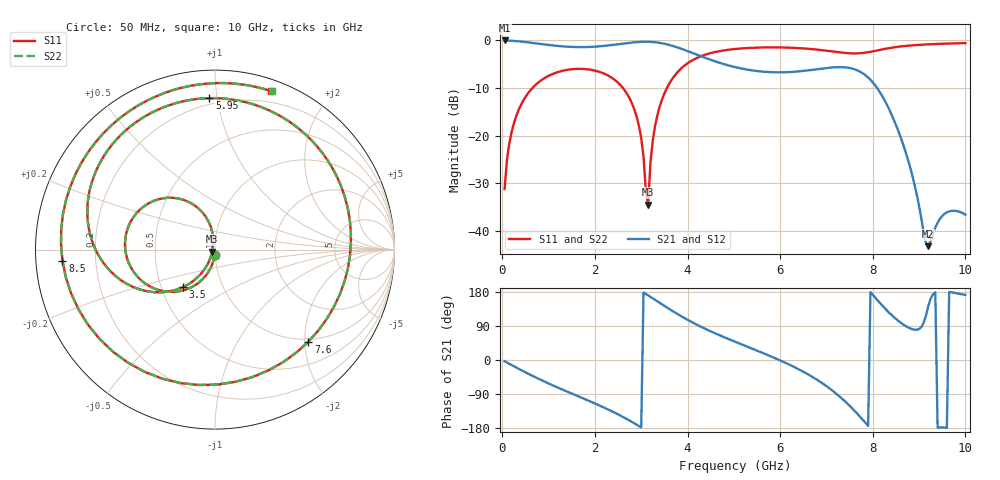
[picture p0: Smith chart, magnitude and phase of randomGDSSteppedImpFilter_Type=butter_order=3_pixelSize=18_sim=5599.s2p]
! freq	dB(S11)	phase(S11)	dB(S12)	phase(S12)
!  dB(S21)	phase(S21)	dB(S22)	phase(S22)
!S-par simulation data
#  GHz  S  DB  R 50
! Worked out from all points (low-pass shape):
!   200 points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, 50 MHz to 10 GHz, reference 50 ohm
!   highest |S21| = -0.01 dB at 50 MHz (marker M1); lowest = -43.2 dB at 9.2 GHz (marker M2)
!   |S21| within 3 dB of the highest: start of sweep to 4.207 GHz
!   lowest |S11| = -34.4 dB at 3.15 GHz (marker M3), VSWR 1.04, Z = 48.5 - j1.05 ohm
!   |S11| at or under -10 dB: start of sweep to 650 MHz; 2.606 GHz to 3.555 GHz (949.3 MHz wide, 30.8 % of centre)
!   |S22| runs from -34.3 to -0.6 dB; largest |S21 - S12| = 0
!   S11 on the Smith chart (normalised r, x): 50 MHz: 1.00, -0.05; 3.5 GHz: 0.64, -0.29; 5.95 GHz: 0.16, +0.95; 7.6 GHz: 0.94, -2.08; 8.5 GHz: 0.08, -0.04; 10 GHz: 0.10, +1.41
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0.05  -31.17 -93.4  -0.01 -3.4  -0.01 -3.4  -31.17 -93.4
0.2  -19.27 -103.7  -0.07 -13.3  -0.07 -13.3  -19.27 -103.7
0.5  -11.88 -123.0  -0.34 -32.5  -0.34 -32.5  -11.88 -123.0
1.75  -5.99 168.2  -1.40 -101.5  -1.40 -101.5  -5.99 168.3
2.75  -12.18 111.7  -0.50 -159.9  -0.50 -159.9  -12.18 111.8
3  -20.52 98.7  -0.30 -178.0  -0.30 -178.0  -20.52 98.9
3.15  -34.44 -145.0  -0.28 170.4  -0.28 170.4  -34.34 -145.7
3.25  -20.95 -116.7  -0.33 162.6  -0.33 162.6  -20.95 -116.9
3.4  -13.85 -123.8  -0.51 150.7  -0.51 150.7  -13.85 -123.9
3.5  -11.15 -130.6  -0.70 142.8  -0.70 142.8  -11.15 -130.7
4.3  -3.27 176.1  -3.35 87.2  -3.35 87.2  -3.27 176.1
5.05  -1.78 136.8  -5.66 47.1  -5.66 47.1  -1.78 136.8
5.95  -1.47 92.1  -6.70 1.7  -6.70 1.7  -1.47 92.1
6.7  -1.83 45.9  -6.17 -44.9  -6.17 -44.9  -1.84 45.7
7.2  -2.41 2.8  -5.62 -87.7  -5.62 -87.7  -2.41 2.4
7.6  -2.73 -44.6  -6.03 -133.2  -6.03 -133.2  -2.73 -45.3
8  -2.29 -104.2  -8.80 172.0  -8.80 172.0  -2.29 -105.0
8.35  -1.62 -156.4  -14.39 125.2  -14.39 125.2  -1.61 -157.0
8.5  -1.39 -175.8  -17.73 108.4  -17.73 108.4  -1.38 -176.3
9.2  -0.82 118.3  -43.18 142.9  -43.18 142.9  -0.82 118.1
9.55  -0.68 95.2  -36.39 -178.3  -36.39 -178.3  -0.68 95.1
10  -0.57 70.4  -36.55 172.0  -36.55 172.0  -0.56 70.4
